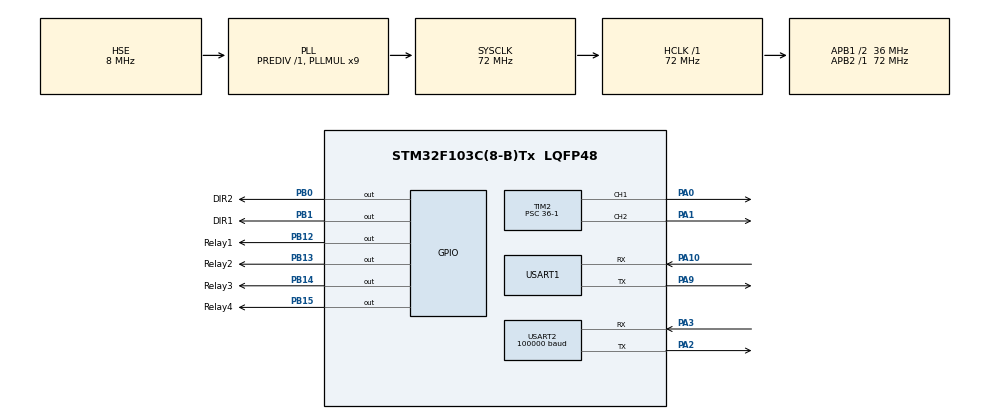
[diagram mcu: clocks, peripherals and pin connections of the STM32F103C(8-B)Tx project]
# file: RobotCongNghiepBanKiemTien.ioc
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Dma.Request0=USART2_RX
Dma.Request1=USART1_RX
Dma.USART1_RX.1.Direction=DMA_PERIPH_TO_MEMORY
Dma.USART1_RX.1.Instance=DMA1_Channel5
Dma.USART1_RX.1.MemDataAlignment=DMA_MDATAALIGN_BYTE
Dma.USART1_RX.1.MemInc=DMA_MINC_ENABLE
Dma.USART1_RX.1.Mode=DMA_NORMAL
Dma.USART1_RX.1.PeriphDataAlignment=DMA_PDATAALIGN_BYTE
Dma.USART1_RX.1.PeriphInc=DMA_PINC_DISABLE
Dma.USART1_RX.1.Priority=DMA_PRIORITY_LOW
Dma.USART2_RX.0.Direction=DMA_PERIPH_TO_MEMORY
Dma.USART2_RX.0.Instance=DMA1_Channel6
Dma.USART2_RX.0.MemDataAlignment=DMA_MDATAALIGN_BYTE
Dma.USART2_RX.0.MemInc=DMA_MINC_ENABLE
Dma.USART2_RX.0.Mode=DMA_NORMAL
Dma.USART2_RX.0.PeriphDataAlignment=DMA_PDATAALIGN_BYTE
Dma.USART2_RX.0.PeriphInc=DMA_PINC_DISABLE
Dma.USART2_RX.0.Priority=DMA_PRIORITY_HIGH
Mcu.Family=STM32F1
Mcu.Name=STM32F103C(8-B)Tx
Mcu.Package=LQFP48
NVIC.DMA1_Channel5_IRQn=true\:0\:0\:false\:false\:true\:false\:true\:true
NVIC.DMA1_Channel6_IRQn=true\:0\:0\:false\:false\:true\:false\:true\:true
NVIC.PriorityGroup=NVIC_PRIORITYGROUP_4
NVIC.TIM3_IRQn=true\:0\:0\:false\:false\:true\:true\:true\:true
NVIC.USART1_IRQn=true\:0\:0\:false\:false\:true\:true\:true\:true
PA0-WKUP.Signal=S_TIM2_CH1_ETR
PA1.Signal=S_TIM2_CH2
PA10.Mode=Asynchronous
PA10.Signal=USART1_RX
PA13.Mode=Serial_Wire
PA13.Signal=SYS_JTMS-SWDIO
PA14.Mode=Serial_Wire
PA14.Signal=SYS_JTCK-SWCLK
PA2.Mode=Asynchronous
PA2.Signal=USART2_TX
PA3.Mode=Asynchronous
PA3.Signal=USART2_RX
PA9.Mode=Asynchronous
PA9.Signal=USART1_TX
PB0.GPIO_Label=DIR2
PB0.Signal=GPIO_Output
PB1.GPIO_Label=DIR1
PB1.Signal=GPIO_Output
PB12.GPIO_Label=Relay1
PB12.Signal=GPIO_Output
PB13.GPIO_Label=Relay2
PB13.Signal=GPIO_Output
PB14.GPIO_Label=Relay3
PB14.Signal=GPIO_Output
PB15.GPIO_Label=Relay4
PB15.Signal=GPIO_Output
PD0-OSC_IN.Mode=HSE-External-Oscillator
PD0-OSC_IN.Signal=RCC_OSC_IN
PD1-OSC_OUT.Mode=HSE-External-Oscillator
PD1-OSC_OUT.Signal=RCC_OSC_OUT
ProjectManager.HeapSize=0x200
ProjectManager.StackSize=0x400
ProjectManager.TargetToolchain=STM32CubeIDE
RCC.AHBFreq_Value=72000000
RCC.APB1CLKDivider=RCC_HCLK_DIV2
RCC.APB1Freq_Value=36000000
RCC.APB1TimFreq_Value=72000000
RCC.APB2Freq_Value=72000000
RCC.APB2TimFreq_Value=72000000
RCC.HCLKFreq_Value=72000000
RCC.PLLMUL=RCC_PLL_MUL9
RCC.PLLSourceVirtual=RCC_PLLSOURCE_HSE
RCC.SYSCLKFreq_VALUE=72000000
RCC.SYSCLKSource=RCC_SYSCLKSOURCE_PLLCLK
RCC.USBFreq_Value=72000000
SH.S_TIM2_CH1_ETR.0=TIM2_CH1,PWM Generation1 CH1
SH.S_TIM2_CH2.0=TIM2_CH2,PWM Generation2 CH2
TIM2.Channel-PWM\ Generation1\ CH1=TIM_CHANNEL_1
TIM2.Channel-PWM\ Generation2\ CH2=TIM_CHANNEL_2
TIM2.Period=100-1
TIM2.Prescaler=36-1
TIM3.Period=50000-1
TIM3.Prescaler=72-1
USART1.VirtualMode=VM_ASYNC
USART2.BaudRate=100000
USART2.Parity=PARITY_EVEN
USART2.StopBits=STOPBITS_2
USART2.VirtualMode=VM_ASYNC
USART2.WordLength=WORDLENGTH_9B
VP_TIM3_VS_ClockSourceINT.Mode=Internal
board=custom

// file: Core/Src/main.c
/* USER CODE BEGIN Header */
/**
 ******************************************************************************
 * @file           : main.c
 * @brief          : Main program body
 ******************************************************************************
 * @attention
 *
 * Copyright (c) 2026 STMicroelectronics.
 * All rights reserved.
 *
 * This software is licensed under terms that can be found in the LICENSE file
 * in the root directory of this software component.
 * If no LICENSE file comes with this software, it is provided AS-IS.
 *
 ******************************************************************************
 */
/* USER CODE END Header */
#include "main.h"

/* USER CODE BEGIN Includes */
#include <math.h>
/* USER CODE END Includes */

/* USER CODE BEGIN PTD */
typedef enum {
  AXIS_NONE = 0,
  AXIS_U,
  AXIS_R
} ControlAxis_t;

/**
 * @brief Union ghép 4 byte từ UART thành biến float (chuẩn IEEE 754)
 */
typedef union {
  float    f_val;      /*!< Giá trị float (4 bytes) */
  uint8_t  bytes[4];   /*!< 4 bytes tương ứng (Little-Endian: bytes[0] là LSB) */
} FloatBytesUnion_t;
/* USER CODE END PTD */

/* USER CODE BEGIN PD */
#define SBUS_FRAME_SIZE 25U
#define SBUS_RX_BUF_SIZE 64U
#define SBUS_STREAM_BUF_SIZE (SBUS_RX_BUF_SIZE + SBUS_FRAME_SIZE - 1U)
#define SBUS_CENTER 992.0f
#define SBUS_DEADBAND 150.0f
#define AUTO_MIN_SPEED 0.0f /* Tốc độ khởi động tối thiểu khi chạy thẳng (%) */
#define PID_MAX 15.0f
#define PID_MIN -15.0f
/* USER CODE END PD */

TIM_HandleTypeDef htim2;
TIM_HandleTypeDef htim3;

UART_HandleTypeDef huart1;
UART_HandleTypeDef huart2;
DMA_HandleTypeDef hdma_usart1_rx;
DMA_HandleTypeDef hdma_usart2_rx;

/* USER CODE BEGIN PV */
volatile uint8_t SCALE = 1;
float delta_u, delta_r;
uint16_t pre_value_ch4 = 1000;
uint16_t pre_value_ch5 = 1000;
uint16_t pre_value_ch6 = 1000;
uint16_t pre_value_ch7 = 1000;
volatile int16_t pwm_test1 =
    0; /* Động cơ 1: Tốc độ từ -100 đến 100 (%) (PWM: PA0, DIR: PB1) */
volatile int16_t pwm_test2 =
    0; /* Động cơ 2: Tốc độ từ -100 đến 100 (%) (PWM: PA1, DIR: PB0) */
volatile int16_t pwm_test = 0; /* Biến test chung */

/* --- THÔNG SỐ ĐỘNG HỌC ROBOT (DIFFERENTIAL DRIVE KINEMATICS) --- */
float a = 1.0f;              /* Bán kính bánh xe (m) */
float d = 1.0f;              /* Khoảng cách từ bánh xe đến tâm robot (m) */
volatile float cmd_u = 0.0f; /* Vận tốc dài tịnh tiến (u) - tiến / lùi */
volatile float cmd_u_base = 0.0f; /* Vận tốc dài cơ sở chưa giảm tốc khi bẻ lái */
volatile float cmd_r = 0.0f; /* Vận tốc góc quay (r) - xoay trái / phải */

volatile float alpha1 =
    1.0f; /* Hệ số tỉ lệ tốc độ tổng duy nhất (0.0 -> 1.0), nhân trực tiếp vào cmd_u và cmd_r */
volatile float alpha2 =
    1.0f; /* Hệ số dự phòng (không sử dụng cho bánh xe nữa) */
float omega1 = 0.0f; /* Vận tốc góc bánh phải (Motor 1) */
float omega2 = 0.0f; /* Vận tốc góc bánh trái (Motor 2) */

/* --- BIẾN VÀ BỘ ĐỆM GIẢI MÃ SBUS (16 KÊNH) --- */
volatile uint8_t sbus_frame[SBUS_FRAME_SIZE];
volatile uint16_t
    sbus_channel[16]; /* 16 kênh RC: Min ~172, Tâm ~992, Max ~1811 */
volatile uint8_t sbus_frame_lost = 0;
volatile uint8_t sbus_failsafe = 0;
volatile uint8_t sbus_sync_ok = 0;

uint8_t sbus_dma_buffer[SBUS_RX_BUF_SIZE];
uint8_t sbus_stream_buffer[SBUS_STREAM_BUF_SIZE];
volatile uint16_t sbus_parser_count = 0;

/* --- BIẾN ĐIỀU KHIỂN BƠM (PUMP CONTROL) & TỰ ĐỘNG TIẾN (AUTO FORWARD) --- */
volatile uint8_t Pump_control = 0; /* 1: Bật bơm, 0: Tắt bơm */
volatile uint8_t Auto_Forward =0; /* 1: Tự động chạy thẳng, 0: Chạy theo cần gạt tay */
volatile uint8_t pre_Auto_Forward = 0;
volatile uint8_t ramp_done = 0; /* 1: Đã hoàn thành speed_ramp (cmd_u >= target_speed), 0: Đang chạy ramp */
volatile float auto_accel_time_ms = 3000.0f; /* <<< ĐIỀN THỜI GIAN GIA TỐC (ms) VÀO ĐÂY: Ví dụ 2000ms = 2 giây để đạt tốc độ */
volatile uint8_t auto_turn_active = 0;
volatile uint8_t auto_turn_armed = 1;
volatile uint32_t auto_turn_start_tick = 0;
volatile uint32_t auto_turn_end_tick = 0;
volatile uint32_t auto_turn_duration_ms = 150; /* Thời gian xoay tối đa (ms) khi gạt ngang (150ms) */
volatile uint8_t manual_turn_active = 0;
volatile uint8_t manual_turn_armed = 1;
volatile uint32_t manual_turn_start_tick = 0;
volatile uint32_t manual_turn_end_tick = 0;
volatile uint32_t turn_debounce_ms = 400; /* Thời gian nghỉ 100ms chống spam giữa các lần gạt xoay */
volatile uint8_t is_forward = 0; /* 1: Đang tiến (cmd_u_base > 0), 0: Đứng yên hoặc lùi */

/* --- BIẾN ĐIỀU KHIỂN ƯU TIÊN TRỤC (AXIS PRIORITY) --- */
volatile ControlAxis_t control_axis = AXIS_NONE;
volatile ControlAxis_t previous_control_axis = AXIS_NONE;
float pre_rc_u = 0.0f;
float pre_rc_r = 0.0f;

/* --- BIẾN NHẬN VÀ LƯU DỮ LIỆU TỪ UART1 QUA DMA IDLE (GÓI 5 BYTE) --- */
#define UART1_RX_BUF_SIZE 20U
uint8_t uart1_rx_buf[UART1_RX_BUF_SIZE];
FloatBytesUnion_t uart1_path_union;
volatile float error_path = 0.0f;          /*!< Lỗi lệch đường (float ghép từ 4 byte đầu qua union) */
volatile uint8_t is_path = 0;              /*!< Trạng thái đường: 1: Có đường, 0: Mất đường (byte thứ 5) */
volatile uint8_t qr_stop_flag = 0;         /*!< Cờ trạm dừng QR (>200x200): 1: Dừng robot, 0: Bình thường (byte thứ 5 từ UART1) */
volatile uint8_t uart1_data[5] = {0};      /*!< Mảng 5 byte lưu dữ liệu thô nhận từ UART1 */
volatile uint16_t uart1_rx_len = 0;        /*!< Chiều dài byte thực tế nhận được */
volatile uint8_t uart1_data_updated = 0;   /*!< Cờ báo vừa nhận được dữ liệu mới (1: có dữ liệu mới) */
volatile uint32_t uart1_rx_count = 0;      /*!< Đếm số lần nhận gói tin thành công từ UART1 */

/* --- THÔNG SỐ VÀ BIẾN PID BÁM ĐƯỜNG (PID_PATH) --- */
float target_path = 0.0f;           /*!< Mục tiêu vị trí lệch đường (0.0 là giữa tâm) */
volatile float err_path, pre_err_path;
float kp_path = 2.0f, kd_path = 1.0f, ki_path = 0.0f; /*!< Thông số PID Path */
volatile float up_path, ud_path, ui_path, uout_path;
volatile float ud_fil_path, ud_fil_pre_path;
float alpha_fil_path = 0.8f;
float deltaT_path = 0.005f;         /*!< Chu kỳ tính PID (5ms tương ứng vòng lặp HAL_Delay(5)) */
volatile uint8_t path_pid_active = 0; /*!< 1: Bật chế độ tự động bẻ lái theo PID Path (Núm 2 > 0.5), 0: Theo cần gạt */
/* USER CODE END PV */

void SystemClock_Config(void);
static void MX_GPIO_Init(void);
static void MX_DMA_Init(void);
static void MX_TIM2_Init(void);
static void MX_USART2_UART_Init(void);
static void MX_USART1_UART_Init(void);
static void MX_TIM3_Init(void);
/* USER CODE BEGIN PFP */
void Motor1_SetSpeed(int16_t pwm_val);
void Motor2_SetSpeed(int16_t pwm_val);
void Motor_SetSpeed(int16_t pwm_val);
float map2(float x, float in_min, float in_max, float out_min, float out_max);
void Kinematic_Cal(float u, float r);

static void SBUS_StartReceive(void);
static void SBUS_DecodeChannels(void);
static uint16_t SBUS_ParseBytes(const uint8_t *data, uint16_t size);
static void UART1_StartReceive(void);
float SBUS_Knob_To_Speed(uint16_t ch_val);
float SBUS_Knob_To_Alpha(uint16_t ch_val);
float Filter_Alpha(float current_alpha, uint16_t ch_val);
float Speed_Ramp(float current_speed, float target_speed, float time_ms);
float pid_path(float target);
void pid_reset_path(void);
/* USER CODE END PFP */

/* USER CODE BEGIN 0 */
/**
 * @brief  Khởi động nhận dữ liệu SBUS qua DMA (Receive To Idle)
 */
static void SBUS_StartReceive(void) {
  if (HAL_UARTEx_ReceiveToIdle_DMA(&huart2, sbus_dma_buffer,
                                   SBUS_RX_BUF_SIZE) == HAL_OK) {
    __HAL_DMA_DISABLE_IT(huart2.hdmarx, DMA_IT_HT); /* Tắt ngắt Half-Transfer */
  }
}

/**
 * @brief  Khởi động nhận dữ liệu UART1 qua DMA Idle Line
 */
static void UART1_StartReceive(void) {
  if (HAL_UARTEx_ReceiveToIdle_DMA(&huart1, uart1_rx_buf,
                                   UART1_RX_BUF_SIZE) == HAL_OK) {
    __HAL_DMA_DISABLE_IT(huart1.hdmarx, DMA_IT_HT); /* Tắt ngắt Half-Transfer */
  }
}

/**
 * @brief  Giải nén 16 kênh 11-bit từ frame SBUS 25 bytes
 */
static void SBUS_DecodeChannels(void) {
  sbus_channel[0] =
      ((uint16_t)sbus_frame[1] | ((uint16_t)sbus_frame[2] << 8)) & 0x07FFU;
  sbus_channel[1] =
      ((uint16_t)sbus_frame[2] >> 3 | ((uint16_t)sbus_frame[3] << 5)) & 0x07FFU;
  sbus_channel[2] =
      ((uint16_t)sbus_frame[3] >> 6 | ((uint16_t)sbus_frame[4] << 2) |
       ((uint16_t)sbus_frame[5] << 10)) &
      0x07FFU;
  sbus_channel[3] =
      ((uint16_t)sbus_frame[5] >> 1 | ((uint16_t)sbus_frame[6] << 7)) & 0x07FFU;
  sbus_channel[4] =
      ((uint16_t)sbus_frame[6] >> 4 | ((uint16_t)sbus_frame[7] << 4)) & 0x07FFU;
  sbus_channel[5] =
      ((uint16_t)sbus_frame[7] >> 7 | ((uint16_t)sbus_frame[8] << 1) |
       ((uint16_t)sbus_frame[9] << 9)) &
      0x07FFU;
  sbus_channel[6] =
      ((uint16_t)sbus_frame[9] >> 2 | ((uint16_t)sbus_frame[10] << 6)) &
      0x07FFU;
  sbus_channel[7] =
      ((uint16_t)sbus_frame[10] >> 5 | ((uint16_t)sbus_frame[11] << 3)) &
      0x07FFU;
  sbus_channel[8] =
      ((uint16_t)sbus_frame[12] | ((uint16_t)sbus_frame[13] << 8)) & 0x07FFU;
  sbus_channel[9] =
      ((uint16_t)sbus_frame[13] >> 3 | ((uint16_t)sbus_frame[14] << 5)) &
      0x07FFU;
  sbus_channel[10] =
      ((uint16_t)sbus_frame[14] >> 6 | ((uint16_t)sbus_frame[15] << 2) |
       ((uint16_t)sbus_frame[16] << 10)) &
      0x07FFU;
  sbus_channel[11] =
      ((uint16_t)sbus_frame[16] >> 1 | ((uint16_t)sbus_frame[17] << 7)) &
      0x07FFU;
  sbus_channel[12] =
      ((uint16_t)sbus_frame[17] >> 4 | ((uint16_t)sbus_frame[18] << 4)) &
      0x07FFU;
  sbus_channel[13] =
      ((uint16_t)sbus_frame[18] >> 7 | ((uint16_t)sbus_frame[19] << 1) |
       ((uint16_t)sbus_frame[20] << 9)) &
      0x07FFU;
  sbus_channel[14] =
      ((uint16_t)sbus_frame[20] >> 2 | ((uint16_t)sbus_frame[21] << 6)) &
      0x07FFU;
  sbus_channel[15] =
      ((uint16_t)sbus_frame[21] >> 5 | ((uint16_t)sbus_frame[22] << 3)) &
      0x07FFU;

  sbus_frame_lost = ((sbus_frame[23] & 0x04U) != 0U);
  sbus_failsafe = ((sbus_frame[23] & 0x08U) != 0U);
}

/**
 * @brief  Tìm kiếm Header 0x0F và Footer 0x00 của frame SBUS
 */
static uint16_t SBUS_ParseBytes(const uint8_t *data, uint16_t size) {
  uint16_t scan_index = 0U;
  uint16_t valid_frames = 0U;

  if (size > SBUS_RX_BUF_SIZE)
    size = SBUS_RX_BUF_SIZE;
  for (uint16_t i = 0; i < size; i++) {
    sbus_stream_buffer[sbus_parser_count++] = data[i];
  }

  while ((sbus_parser_count - scan_index) >= SBUS_FRAME_SIZE) {
    if (sbus_stream_buffer[scan_index] != 0x0FU ||
        sbus_stream_buffer[scan_index + SBUS_FRAME_SIZE - 1U] != 0x00U) {
      scan_index++;
      continue;
    }
    for (uint16_t i = 0; i < SBUS_FRAME_SIZE; i++) {
      sbus_frame[i] = sbus_stream_buffer[scan_index + i];
    }
    SBUS_DecodeChannels();
    valid_frames++;
    scan_index += SBUS_FRAME_SIZE;
  }

  uint16_t remaining = sbus_parser_count - scan_index;
  for (uint16_t i = 0; i < remaining; i++) {
    sbus_stream_buffer[i] = sbus_stream_buffer[scan_index + i];
  }
  sbus_parser_count = remaining;
  return valid_frames;
}

/**
 * @brief  Callback ngắt nhận IDLE UART từ DMA (USART1 và USART2)
 */
void HAL_UARTEx_RxEventCallback(UART_HandleTypeDef *huart, uint16_t Size) {
  if (huart->Instance == USART2) {
    if (SBUS_ParseBytes(sbus_dma_buffer, Size) > 0U) {
      sbus_sync_ok = 1U;
    }
    SBUS_StartReceive();
  }
  if (huart->Instance == USART1) {
    if (Size >= 5U) {
      /* Ghép 4 byte đầu (0..3) thành biến float error_path qua union */
      uart1_path_union.bytes[0] = uart1_rx_buf[0];
      uart1_path_union.bytes[1] = uart1_rx_buf[1];
      uart1_path_union.bytes[2] = uart1_rx_buf[2];
      uart1_path_union.bytes[3] = uart1_rx_buf[3];
      error_path = uart1_path_union.f_val;

      /* Byte thứ 5 (index 4) là cờ trạm dừng QR (> 200x200 pixels) từ tầng trên:
       * - 1: Kích hoạt trạm dừng (QR > 200x200 px) -> Robot dừng lại
       * - 0: Trạng thái chạy bình thường (bám đường hoặc bám tâm QR)
       */
      qr_stop_flag = uart1_rx_buf[4];
      is_path = (qr_stop_flag == 1) ? 0 : 1;
    }

    if (Size > 0U) {
      /* Sao chép 5 byte vào mảng dữ liệu thô uart1_data */
      uint8_t copy_len = (Size >= sizeof(uart1_data)) ? (uint8_t)sizeof(uart1_data) : (uint8_t)Size;
      for (uint8_t i = 0; i < copy_len; i++) {
        uart1_data[i] = uart1_rx_buf[i];
      }
      uart1_rx_len = Size;
      uart1_data_updated = 1;
      uart1_rx_count++;
    }
    /* Khởi động lại nhận DMA Idle Line cho gói tiếp theo */
    UART1_StartReceive();
  }
}

/**
 * @brief  Callback tự động khôi phục khi gặp lỗi đường truyền UART
 */
void HAL_UART_ErrorCallback(UART_HandleTypeDef *huart) {
  if (huart->Instance == USART2) {
    (void)HAL_UART_AbortReceive(huart);
    sbus_parser_count = 0U;
    SBUS_StartReceive();
  }
  if (huart->Instance == USART1) {
    __HAL_UART_CLEAR_OREFLAG(huart);
    __HAL_UART_CLEAR_FEFLAG(huart);
    __HAL_UART_CLEAR_NEFLAG(huart);
    __HAL_UART_CLEAR_PEFLAG(huart);
    (void)HAL_UART_AbortReceive(huart);
    UART1_StartReceive();
  }
}

/**
 * @brief  Chuyển đổi núm xoay Potentiometer (Kênh 7 & Kênh 8 / 200..1800) sang
 * độ lớn tốc độ (0% đến 100%)
 */
float SBUS_Knob_To_Speed(uint16_t ch_val) {
  if (ch_val < 200)
    ch_val = 200;
  if (ch_val > 1800)
    ch_val = 1800;
  return map2((float)ch_val, 200.0f, 1800.0f, 0.0f, 100.0f);
}

/**
 * @brief  Chuyển đổi núm xoay Potentiometer (200..1800) sang hệ số alpha (0.00
 * đến 1.00) Làm tròn lấy đúng 2 chữ số sau dấu phẩy (0.xx)
 */
float SBUS_Knob_To_Alpha(uint16_t ch_val) {
  if (ch_val < 200)
    ch_val = 200;
  if (ch_val > 1800)
    ch_val = 1800;
  float raw = map2((float)ch_val, 200.0f, 1800.0f, 0.0f, 1.0f);
  return (float)((uint16_t)(raw * 100.0f + 0.5f)) / 100.0f;
}

/**
 * @brief  Bộ lọc EMA siêu nhạy chống rung giật số và bám sát chuyển động xoay
 * núm
 * @param  current_alpha: Giá trị alpha hiện tại (0.00 đến 1.00)
 * @param  ch_val: Giá trị kênh SBUS đọc về (200..1800)
 * @retval Giá trị alpha mượt mà, phản hồi tức thì (nhạy) và đứng im khi không
 * xoay
 */
float Filter_Alpha(float current_alpha, uint16_t ch_val) {
  if (ch_val < 200)
    ch_val = 200;
  if (ch_val > 1800)
    ch_val = 1800;

  /* Giá trị mục tiêu từ kênh SBUS */
  float target = (float)(ch_val - 200) / 1600.0f;

  /* Lọc EMA bám nhanh (trọng số 0.8: bám theo tay tức thì trong ~15ms, vừa
   * triệt tiêu nhiễu rung) */
  float filtered = current_alpha + 0.8f * (target - current_alpha);

  /* Làm tròn lấy 2 chữ số sau dấu phẩy */
  return (float)((uint16_t)(filtered * 100.0f + 0.5f)) / 100.0f;
}

/**
 * @brief  Hàm tính toán gia tốc tăng/giảm tốc độ theo thời gian
 * @param  current_speed: Tốc độ hiện tại (%)
 * @param  target_speed : Tốc độ cài đặt cần đạt tới (%)
 * @param  time_ms      : Khoảng thời gian (ms) để tăng từ AUTO_MIN_SPEED (0%) đến target_speed
 * @retval Tốc độ mới sau khi áp dụng gia tốc (%)
 */
float Speed_Ramp(float current_speed, float target_speed, float time_ms) {
  if (time_ms <= 0.0f) {
    return target_speed;
  }

  static uint32_t last_tick = 0;
  uint32_t now = HAL_GetTick();
  float dt = (float)(now - last_tick);
  last_tick = now;

  /* Giới hạn dt hợp lệ nếu hàm vừa được gọi lại sau thời gian dài */
  if (dt <= 0.0f || dt > 50.0f) {
    dt = 5.0f; /* Thời gian chu kỳ mặc định theo HAL_Delay(5) */
  }

  /* Bước tăng/giảm tốc độ trong khoảng thời gian dt:
   * Khoảng chênh lệch từ AUTO_MIN_SPEED (0%) đến target_speed diễn ra đúng trong time_ms */
  float speed_delta = fabsf(target_speed - AUTO_MIN_SPEED);
  if (speed_delta <= 0.0f) {
    return target_speed;
  }

  float rate = speed_delta / time_ms;
  float step = rate * dt;

  if (current_speed < target_speed) {
    current_speed += step;
    if (current_speed > target_speed) {
      current_speed = target_speed;
    }
  } else if (current_speed > target_speed) {
    current_speed -= step;
    if (current_speed < target_speed) {
      current_speed = target_speed;
    }
  }

  return current_speed;
}

/**
 * @brief  Hàm ánh xạ tuyến tính float
 */
float map2(float x, float in_min, float in_max, float out_min, float out_max) {
  if (in_max == in_min) {
    return out_min;
  }
  return (x - in_min) * (out_max - out_min) / (in_max - in_min) + out_min;
}

/**
 * @brief  Tính toán động học vi sai (Kinematics) và cấp tốc độ ra 2 động cơ
 * (-100 đến 100%)
 * @param  u: Vận tốc dài (Linear velocity) - vector đi thẳng/lùi
 * @param  r: Vận tốc góc (Angular velocity) - vector quay trái/phải
 * @retval None
 */
void Kinematic_Cal(float u, float r) {
  /* Công thức động học vi sai (đã bỏ hệ số alpha ở từng bánh):
   * omega1: vận tốc góc bánh phải (Motor 1)
   * omega2: vận tốc góc bánh trái (Motor 2)
   */
  omega1 = (1.0f / a) * (u + r * d);
  omega2 = (1.0f / a) * (u -  r * d);

  /* Ánh xạ trực tiếp sang dải PWM (-100% đến 100%) */
  int16_t right_speed =
      -(int16_t)map2(omega1, -100.0f, 100.0f, -100.0f, 100.0f);
  int16_t left_speed = (int16_t)map2(omega2, -100.0f, 100.0f, -100.0f, 100.0f);

  /* Cấp tốc độ trực tiếp ra 2 động cơ */
  Motor1_SetSpeed(right_speed);
  Motor2_SetSpeed(left_speed);
}

/**
 * @brief  Điều khiển Động cơ 1 (Bánh phải)
 * @param  pwm_val: -100 đến 100 (%)
 *                  - pwm_val >= 0: Quay thuận (DIR1 = HIGH), xung PA0
 * (TIM2_CH1)
 *                  - pwm_val < 0 : Quay nghịch (DIR1 = LOW), xung PA0
 * (TIM2_CH1)
 * @retval None
 */
void Motor1_SetSpeed(int16_t pwm_val) {
  /* Giới hạn giá trị trong khoảng [-100, 100] */
  if (pwm_val > 100) {
    pwm_val = 100;
  } else if (pwm_val < -100) {
    pwm_val = -100;
  }

  /* Điều khiển chân chiều DIR 1 (PB1) */
  if (pwm_val >= 0) {
    HAL_GPIO_WritePin(DIR1_GPIO_Port, DIR1_Pin, GPIO_PIN_SET);
  } else {
    HAL_GPIO_WritePin(DIR1_GPIO_Port, DIR1_Pin, GPIO_PIN_RESET);
    pwm_val = -pwm_val; /* Lấy độ lớn cho xung PWM */
  }

  /* Tính giá trị compare tương ứng theo Period (ARR = 719 => 720 bước đếm cho
   * 100kHz) */
  uint32_t period = __HAL_TIM_GET_AUTORELOAD(&htim2) + 1U;
  uint32_t compare = (period * (uint32_t)pwm_val) / 100U;

  __HAL_TIM_SET_COMPARE(&htim2, TIM_CHANNEL_1, compare);
}

/**
 * @brief  Điều khiển Động cơ 2 (Bánh trái)
 * @param  pwm_val: -100 đến 100 (%)
 *                  - pwm_val >= 0: Quay thuận (DIR2 = HIGH), xung PA1
 * (TIM2_CH2)
 *                  - pwm_val < 0 : Quay nghịch (DIR2 = LOW), xung PA1
 * (TIM2_CH2)
 * @retval None
 */
void Motor2_SetSpeed(int16_t pwm_val) {
  /* Giới hạn giá trị trong khoảng [-100, 100] */
  if (pwm_val > 100) {
    pwm_val = 100;
  } else if (pwm_val < -100) {
    pwm_val = -100;
  }

  /* Điều khiển chân chiều DIR 2 (PB0) */
  if (pwm_val >= 0) {
    HAL_GPIO_WritePin(DIR2_GPIO_Port, DIR2_Pin, GPIO_PIN_SET);
  } else {
    HAL_GPIO_WritePin(DIR2_GPIO_Port, DIR2_Pin, GPIO_PIN_RESET);
    pwm_val = -pwm_val; /* Lấy độ lớn cho xung PWM */
  }

  /* Tính giá trị compare tương ứng theo Period (ARR = 719 => 720 bước đếm cho
   * 100kHz) */
  uint32_t period = __HAL_TIM_GET_AUTORELOAD(&htim2) + 1U;
  uint32_t compare = (period * (uint32_t)pwm_val) / 100U;

  __HAL_TIM_SET_COMPARE(&htim2, TIM_CHANNEL_2, compare);
}

/**
 * @brief  Hàm điều khiển chung / tương thích ngược
 */
void Motor_SetSpeed(int16_t pwm_val) { Motor1_SetSpeed(pwm_val); }

/**
 * @brief  Thuật toán PID bám đường (Path Tracking)
 * @param  target: Giá trị mục tiêu (mặc định 0.0f là ở giữa tâm đường)
 * @retval Tín hiệu ngõ ra điều khiển góc quay (uout_path: -100.0f đến 100.0f)
 */
float pid_path(float target) {
  /* Nếu tại trạm dừng QR (qr_stop_flag == 1): ngắt ngõ ra lái về 0 và xóa khâu tích phân */
  if (qr_stop_flag == 1) {
    ui_path = 0.0f;
    uout_path = 0.0f;
    return 0.0f;
  }

  /* Sai số: mục tiêu - độ lệch thực tế nhận từ cảm biến qua UART1 */
  err_path = target - error_path;

  /* Khâu tỉ lệ (P) */
  up_path = kp_path * err_path;

  /* Khâu tích phân (I) kèm giới hạn chống bão hòa (Anti-windup) */
  ui_path += ki_path * err_path * deltaT_path;
  if (ui_path > PID_MAX) ui_path = PID_MAX;
  else if (ui_path < PID_MIN) ui_path = PID_MIN;

  /* Khâu vi phân (D) có bộ lọc thông thấp (Derivative Filter) chống nhiễu */
  ud_path = kd_path * ((err_path - pre_err_path) / deltaT_path);
  ud_fil_path = (1.0f - alpha_fil_path) * ud_fil_pre_path + alpha_fil_path * ud_path;

  /* Lưu giá trị cho chu kỳ kế tiếp */
  ud_fil_pre_path = ud_fil_path;
  pre_err_path = err_path;

  /* Tổng ngõ ra PID (giới hạn trong khoảng [PID_MIN, PID_MAX]) */
  uout_path = up_path + ud_fil_path + ui_path;
  if (uout_path > PID_MAX) uout_path = PID_MAX;
  else if (uout_path < PID_MIN) uout_path = PID_MIN;

  return uout_path;
}

/**
 * @brief  Hàm reset các biến trạng thái bộ điều khiển PID Path
 */
void pid_reset_path(void) {
  err_path = 0.0f;
  pre_err_path = 0.0f;
  up_path = 0.0f;
  ui_path = 0.0f;
  ud_path = 0.0f;
  ud_fil_path = 0.0f;
  ud_fil_pre_path = 0.0f;
  uout_path = 0.0f;
}
/* USER CODE END 0 */

int main(void)
{

  /* MCU Configuration--------------------------------------------------------*/

  /* Reset of all peripherals, Initializes the Flash interface and the Systick. */
  HAL_Init();

  /* Configure the system clock */
  SystemClock_Config();

  /* Initialize all configured peripherals */
  MX_GPIO_Init();
  MX_DMA_Init();
  MX_TIM2_Init();
  MX_USART2_UART_Init();
  MX_USART1_UART_Init();
  MX_TIM3_Init();
  /* USER CODE BEGIN 2 */
  /* Khởi động xuất xung PWM trên Timer 2: Channel 1 (PA0) và Channel 2 (PA1) */
  HAL_TIM_PWM_Start(&htim2, TIM_CHANNEL_1);
  HAL_TIM_PWM_Start(&htim2, TIM_CHANNEL_2);

  /* Bắt đầu nhận tín hiệu điều khiển SBUS qua DMA */
  SBUS_StartReceive();

  /* Bắt đầu nhận dữ liệu UART1 qua DMA Idle Line (mảng 10 byte) */
  UART1_StartReceive();

  /* Khởi động ngắt định kỳ Timer 3 để tính toán bộ điều khiển PID bám đường */
  HAL_TIM_Base_Start_IT(&htim3);
  /* USER CODE END 2 */

  /* Infinite loop */
  /* USER CODE BEGIN WHILE */
  while (1) {
    /* Đọc tín hiệu SBUS từ tay điều khiển RC */
    if (sbus_failsafe == 0 && sbus_sync_ok == 1) {
      /* 1. Lọc và cập nhật hệ số alpha1 (bánh phải) và alpha2 (bánh trái) từ
       * núm xoay (0.00 đến 1.00) */
      alpha1 = Filter_Alpha(
          alpha1,
          sbus_channel[6]); /* Kênh 7: Núm xoay điều chỉnh % tốc độ bánh phải */
      alpha2 = Filter_Alpha(
          alpha2,
          sbus_channel[7]); /* Kênh 8: Núm xoay điều chỉnh % tốc độ bánh trái */

      /* 2. Đọc trạng thái Tự động chạy thẳng (Auto_Forward) từ công tắc Kênh 5
       * (sbus_channel[4]):
       * - Gạt lên (~200 / < 600)    -> Auto_Forward = 1 (Bật chế độ tự chạy
       * thẳng)
       * - Gạt xuống (~1800 / > 1400) -> Auto_Forward = 0 (Tắt tự động, về điều
       * khiển tay)
       */
      if (sbus_channel[4] < 600) {
        Auto_Forward = 1;
      } else {
        Auto_Forward = 0;
      }

      /* 3. Điều khiển Tốc độ tiến/lùi (cmd_u) và Góc xoay (cmd_r):
       * - cmd_u: sbus_channel[1] (200 -> 1800 map sang -100 -> +100, tâm 1000)
       * - cmd_r: sbus_channel[0] (200 -> 1800 map sang -100 -> +100, tâm 1000)
       */
      /* Đọc giá trị cần gạt từ tay điều khiển RC */
      float raw_ch1 = (float)sbus_channel[1];
      if (raw_ch1 < 200.0f) raw_ch1 = 200.0f;
      else if (raw_ch1 > 1800.0f) raw_ch1 = 1800.0f;
      float rc_u = map2(raw_ch1, 200.0f, 1800.0f, -100.0f, 100.0f);
      if (rc_u >= -30.0f && rc_u <= 30.0f) {
        rc_u = 0.0f; /* Vùng chết [-30, 30] ở khoảng giữa cần gạt tiến/lùi */
      }

      float raw_ch0 = (float)sbus_channel[0];
      if (raw_ch0 < 200.0f) raw_ch0 = 200.0f;
      else if (raw_ch0 > 1800.0f) raw_ch0 = 1800.0f;
      float rc_r = - map2(raw_ch0, 200.0f, 1800.0f, -100.0f, 100.0f);
      if (rc_r >= -30.0f && rc_r <= 30.0f) {
        rc_r = 0.0f; /* Vùng chết [-30, 30] ở khoảng giữa cần gạt xoay */
      }

      /* 3.1. KIỂM TRA CHẾ ĐỘ TỰ ĐỘNG BẺ LÁI THEO PID BÁM ĐƯỜNG (Núm xoay 2 > 50%) */
      if (alpha2 > 0.5f) {
        path_pid_active = 1;

        /* Khi núm 2 > 0.5: Góc xoay cmd_r lấy trực tiếp từ ngõ ra PID (uout_path),
         * hoàn toàn KHÔNG bị giới hạn bởi các quy luật 150ms hay 400ms! */
        cmd_r = uout_path;

        if (Auto_Forward == 1) {
          float target_speed = alpha1 * 100.0f;
          is_forward = 1;

          /* Bắt đầu tăng tốc ở lần đầu tiên khi bật Auto_Forward */
          if (pre_Auto_Forward == 0) {
            cmd_u = AUTO_MIN_SPEED;
            ramp_done = 0;
            pre_Auto_Forward = 1;
          }

          /* Gia tốc tăng tốc độ đến target_speed */
          if (ramp_done == 0) {
            cmd_u = Speed_Ramp(cmd_u, target_speed, auto_accel_time_ms);
            if (cmd_u >= target_speed) {
              cmd_u = target_speed;
              ramp_done = 1;
            }
          } else {
            cmd_u = target_speed;
          }
        } else {
          /* Chế độ Lái tay: Vận tốc tiến/lùi theo cần gạt rc_u * alpha1 */
          pre_Auto_Forward = 0;
          ramp_done = 0;
          cmd_u_base = rc_u * alpha1;
          cmd_u = cmd_u_base;

          if (cmd_u_base > 0.0f) {
            is_forward = 1;
          } else {
            is_forward = 0;
          }

          /* Nếu buông tay cần tiến/lùi (xe đứng yên), ngắt cả tốc độ và góc xoay để xe đứng yên */
          if (rc_u == 0.0f) {
            cmd_u = 0.0f;
            cmd_r = 0.0f;
          }
        }

        /* KIỂM TRA TRẠM DỪNG QR (> 200x200 PIXELS) TRONG CHẾ ĐỘ TỰ ĐỘNG BÁM ĐƯỜNG:
         * Khi tầng trên gửi cờ trạm dừng (qr_stop_flag == 1),
         * lập tức dừng hẳn robot (ngắt tốc độ cmd_u = 0, góc lái cmd_r = 0).
         */
        if (qr_stop_flag == 1) {
          cmd_u = 0.0f;
          cmd_r = 0.0f;
          ramp_done = 0; /* Reset gia tốc để khi tiếp tục chạy sẽ khởi động êm */
          ui_path = 0.0f; /* Xóa tích phân PID */
        }

        /* Nạp lại cờ sẵn sàng cho các đợt bẻ lái tay khi tắt núm xoay PID */
        auto_turn_armed = 1;
        auto_turn_active = 0;
        manual_turn_armed = 1;
        manual_turn_active = 0;
      } else {
        /* TẮT CHẾ ĐỘ PID BÁM ĐƯỜNG: Reset trạng thái PID khi vừa vặn núm về <= 0.5 */
        if (path_pid_active == 1) {
          pid_reset_path();
          path_pid_active = 0;
        }

        /* === CHẾ ĐỘ ĐIỀU KHIỂN THEO CẦN GẠT TAY VỚI QUY LUẬT 150ms VÀ 400ms === */
        if (Auto_Forward == 1) {
          float target_speed = alpha1 * 100.0f;
          is_forward = 1; /* Ở chế độ Auto thì xe luôn luôn ở trạng thái tiến */

          /* Bắt đầu tăng tốc ở lần đầu tiên khi bật Auto_Forward */
          if (pre_Auto_Forward == 0) {
            cmd_u = AUTO_MIN_SPEED; /* Khởi tạo tốc độ bắt đầu từ 0% */
            ramp_done = 0;
            auto_turn_armed = 1;
            auto_turn_active = 0;
            pre_Auto_Forward = 1;
          }

          /* Xử lý xoay ngang trong chế độ Auto_Forward:
           * - Nhả cần xoay về giữa (rc_r == 0): Lập tức dừng xoay (kể cả chưa hết 150ms).
           * - Bắt đầu gạt cần xoay (rc_r != 0): Chỉ kích hoạt khi đã nghỉ đủ turn_debounce_ms (100ms).
           */
          if (rc_r == 0.0f) {
            /* Chỉ nạp lại cờ sẵn sàng sau khi đã nghỉ đủ turn_debounce_ms (chống spam cần xoay) */
            if ((HAL_GetTick() - auto_turn_end_tick) >= turn_debounce_ms) {
              auto_turn_armed = 1;  /* Nhả về giữa và đã qua thời gian nghỉ: sẵn sàng cho lần gạt sau */
            }
            if (auto_turn_active == 1) {
              auto_turn_active = 0; /* Lập tức dừng xoay */
              auto_turn_end_tick = HAL_GetTick(); /* Bắt đầu đếm thời gian nghỉ chống spam */
            }
            cmd_r = 0.0f;
          } else if (auto_turn_armed == 1 && (HAL_GetTick() - auto_turn_end_tick) >= turn_debounce_ms) {
            auto_turn_armed = 0;  /* Khóa lại, chỉ xoay 1 đợt 150ms */
            auto_turn_active = 1; /* Bắt đầu xoay */
            auto_turn_start_tick = HAL_GetTick();
          }

          /* Thực hiện xoay nếu đang trong thời gian cho phép (< 150ms) */
          if (auto_turn_active == 1) {
            if ((HAL_GetTick() - auto_turn_start_tick) < auto_turn_duration_ms) {
              /* VỪA CHẠY VỪA LƯỢN: Giảm tốc tịnh tiến xuống 2/3 để ôm cua an toàn */
              cmd_u = target_speed * (2.0f / 3.0f);
              cmd_r = rc_r * alpha1 * (2.0f / 3.0f);        /* Xoay theo cần gạt tay (nhân hệ số 2/3 để giảm tốc góc) */
            } else {
              /* Hết 150ms: Tự động hết thời gian xoay dù tay vẫn đang giữ cần gạt */
              auto_turn_active = 0;
              auto_turn_end_tick = HAL_GetTick();           /* Bắt đầu đếm cooldown chống spam */
              cmd_r = 0.0f;
            }
          }

          /* Khi không xoay (hoặc vừa hết 150ms): Chạy thẳng bình thường với tốc độ cài đặt */
          if (auto_turn_active == 0) {
            cmd_r = 0.0f;          /* Ngừng xoay khi chạy thẳng */

            /* Chỉ gia tốc 1 lần duy nhất lúc vừa bật Auto_Forward */
            if (ramp_done == 0) {
              cmd_u = Speed_Ramp(cmd_u, target_speed, auto_accel_time_ms);
              if (cmd_u >= target_speed) {
                cmd_u = target_speed;
                ramp_done = 1; /* Chạy xong gia tốc 1 lần duy nhất -> các lần sau không gia tốc nữa */
              }
            } else {
              cmd_u = target_speed; /* Đã xong gia tốc: chạy thẳng trực tiếp với tốc độ cài đặt */
            }
          }
        } else {
          /* Tắt Auto_Forward: reset cờ để lần sau bật lại sẽ tính gia tốc từ đầu */
          pre_Auto_Forward = 0;
          ramp_done = 0;
          auto_turn_armed = 1;
          auto_turn_active = 0;

          /* Chế độ lái tay thủ công (không bật Auto_Forward):
           * 1. Khi thả cần chạy thẳng (rc_u == 0):
           *    - Xoay toàn diện tự do (cmd_u = 0, cmd_r = rc_r * alpha1).
           * 2. Khi đang gạt chạy thẳng (rc_u != 0):
           *    - Xe duy trì chạy thẳng (cmd_u = rc_u * alpha1), KHÔNG dừng lại để xoay.
           *    - Nếu gạt ngang: chỉ xoay trong 150ms như Auto_Forward (cmd_r = rc_r * alpha1).
           *      Hết 150ms thì tự động ngắt xoay (cmd_r = 0), tiếp tục chạy thẳng.
           *    - Nếu nhả cần xoay về giữa (rc_r == 0) trong 150ms: lập tức dừng xoay (cmd_r = 0) và nạp lại cờ.
           *    - Chỉ được xoay tiếp 150ms khi đã nhả cần xoay về giữa rồi gạt lại.
           */
          if (rc_u == 0.0f) {
            /* Không gạt chạy thẳng -> Cho phép xoay toàn diện không giới hạn thời gian */
            is_forward = 0;
            cmd_u = 0.0f;
            cmd_u_base = 0.0f;
            cmd_r = rc_r * alpha1;

            /* Nạp lại cờ sẵn sàng cho đợt xoay 150ms khi chạy thẳng */
            manual_turn_armed = 1;
            manual_turn_active = 0;
          } else {
            /* Đang gạt chạy thẳng/lùi: Tính tốc độ cơ sở từ cần gạt */
            cmd_u_base = rc_u * alpha1;

            /* Cập nhật cờ hướng chạy */
            if (cmd_u_base > 0.0f) {
              is_forward = 1;  /* Đang tiến */
            } else {
              is_forward = 0;  /* Đang lùi */
            }

            /* Xử lý gạt xoay ngang trong lúc chạy thẳng (chỉ xoay tối đa 150ms) */
            if (rc_r == 0.0f) {
              /* Chỉ nạp lại cờ sẵn sàng sau khi đã nghỉ đủ 50ms (chống spam cần xoay) */
              if ((HAL_GetTick() - manual_turn_end_tick) >= turn_debounce_ms) {
                manual_turn_armed = 1;  /* Nhả về giữa và đã qua 50ms: sẵn sàng cho lần gạt sau */
              }
              if (manual_turn_active == 1) {
                manual_turn_active = 0; /* Lập tức dừng xoay */
                manual_turn_end_tick = HAL_GetTick(); /* Bắt đầu đếm thời gian nghỉ 50ms */
              }
              cmd_r = 0.0f;
              cmd_u = cmd_u_base;     /* Chạy thẳng đủ 100% tốc độ cài đặt */
            } else if (manual_turn_armed == 1 && (HAL_GetTick() - manual_turn_end_tick) >= turn_debounce_ms) {
              manual_turn_armed = 0;  /* Khóa lại, chỉ xoay 1 đợt 150ms */
              manual_turn_active = 1;
              manual_turn_start_tick = HAL_GetTick();
            }

            if (manual_turn_active == 1) {
              if ((HAL_GetTick() - manual_turn_start_tick) < auto_turn_duration_ms) {
                /* Trong 150ms liếc hướng: Giảm tốc tịnh tiến 2/3 để ôm cua an toàn */
                cmd_u = cmd_u_base * (2.0f / 3.0f);

                /* Bẻ lái: kiểm tra cờ is_forward cực kỳ trực quan */
                if (is_forward == 0) {
                  cmd_r = -rc_r * alpha1 * (2.0f / 3.0f); /* Lùi xe: đảo ngược hướng xoay và giảm tốc 2/3 */
                } else {
                  cmd_r = rc_r * alpha1 * (2.0f / 3.0f);  /* Tiến xe: hướng xoay bình thường giảm tốc 2/3 */
                }
              } else {
                manual_turn_active = 0; /* Hết 150ms: Tự động hết thời gian xoay */
                manual_turn_end_tick = HAL_GetTick(); /* Bắt đầu đếm 50ms cooldown chống spam */
                cmd_r = 0.0f;
                cmd_u = cmd_u_base;     /* Trả lại đủ tốc độ chạy thẳng */
              }
            } else {
              /* Hết 150ms mà chưa nhả cần về 0: Khóa xoay, chỉ chạy thẳng với đủ tốc độ */
              cmd_r = 0.0f;
              cmd_u = cmd_u_base;
            }
          }
        }
      }

      /* Giới hạn góc lái cmd_r trong khoảng [-100, 100] */
      if (cmd_r > 100.0f) {
        cmd_r = 100.0f;
      } else if (cmd_r < -100.0f) {
        cmd_r = -100.0f;
      }

      /* 4. Điều khiển Bơm (sbus_channel[5]):
       * - Bỏ qua nếu trước đó channel 4..7 đều bằng 200 (trạng thái khởi động / dummy frame ban đầu)
       * - Khi giá trị trước đó < 600 và hiện tại chuyển về vị trí giữa (~1000, [800..1200]) -> Bật bơm (Pump_control = 1)
       * - Khi gạt xuống (> 1400) -> Tắt bơm (Pump_control = 0)
       */
      uint8_t prev_ch4_to_7_all_200 = (pre_value_ch4 <= 250 && pre_value_ch5 <= 250 &&
                                       pre_value_ch6 <= 250 && pre_value_ch7 <= 250);

      if ((sbus_channel[5] >= 800 && sbus_channel[5] <= 1200) && (pre_value_ch5 < 600) && !prev_ch4_to_7_all_200) {
        Pump_control = 1;
      } else if (sbus_channel[5] > 1400) {
        Pump_control = 0;
      }
      pre_value_ch4 = sbus_channel[4];
      pre_value_ch5 = sbus_channel[5];
      pre_value_ch6 = sbus_channel[6];
      pre_value_ch7 = sbus_channel[7];
    } else {
      /* Mất sóng hoặc tắt tay điều khiển -> dừng khẩn cấp, tắt bơm và tắt tự
       * động */
      cmd_u = 0.0f;
      cmd_u_base = 0.0f;
      cmd_r = 0.0f;
      Auto_Forward = 0;
      pre_Auto_Forward = 0;
      ramp_done = 0;
      auto_turn_armed = 1;
      auto_turn_active = 0;
      manual_turn_armed = 1;
      manual_turn_active = 0;
      Pump_control = 0;
      is_forward = 0;
      path_pid_active = 0;
      pid_reset_path();
      control_axis = AXIS_NONE;
      previous_control_axis = AXIS_NONE;
      pre_rc_u = 0.0f;
      pre_rc_r = 0.0f;
    }

    /* 5. Điều khiển 4 Relay (Bơm thuốc) theo biến Pump_control */
       if (Pump_control == 1) {
         HAL_GPIO_WritePin(GPIOB,
                           Relay1_Pin | Relay2_Pin | Relay3_Pin | Relay4_Pin,
                           GPIO_PIN_SET);
       } else {
         HAL_GPIO_WritePin(GPIOB,
                           Relay1_Pin | Relay2_Pin | Relay3_Pin | Relay4_Pin,
                           GPIO_PIN_RESET);
       }
    /* 5. Điều khiển 4 Relay (Bơm thuốc) theo biến Pump_control */
    // if (Pump_control == 1) {
    //   HAL_GPIO_WritePin(GPIOB, Relay1_Pin, GPIO_PIN_SET);
    // } else {
    //   HAL_GPIO_WritePin(GPIOB, Relay1_Pin, GPIO_PIN_RESET);
    // }

    /* 6. HÀNH VI TRẠM DỪNG QR (> 200x200 PIXELS) TOÀN CỤC:
     * Khi nhận cờ dừng QR (qr_stop_flag == 1) trong khi đang bật chế độ tự động
     * (bật PID bám đường hoặc bật Auto_Forward), cưỡng bức dừng xe tuyệt đối.
     */
    if (qr_stop_flag == 1 && (path_pid_active == 1 || Auto_Forward == 1)) {
      cmd_u = 0.0f;
      cmd_r = 0.0f;
      ramp_done = 0;
      ui_path = 0.0f;
    }

    /* Tính toán động học vi sai và băm xung ra 2 bánh */
    Kinematic_Cal(cmd_u, cmd_r);
    HAL_Delay(5);
    /* USER CODE END WHILE */

  }
}

void SystemClock_Config(void)
{
  RCC_OscInitTypeDef RCC_OscInitStruct = {0};
  RCC_ClkInitTypeDef RCC_ClkInitStruct = {0};

  /** Initializes the RCC Oscillators according to the specified parameters
  * in the RCC_OscInitTypeDef structure.
  */
  RCC_OscInitStruct.OscillatorType = RCC_OSCILLATORTYPE_HSE;
  RCC_OscInitStruct.HSEState = RCC_HSE_ON;
  RCC_OscInitStruct.HSEPredivValue = RCC_HSE_PREDIV_DIV1;
  RCC_OscInitStruct.HSIState = RCC_HSI_ON;
  RCC_OscInitStruct.PLL.PLLState = RCC_PLL_ON;
  RCC_OscInitStruct.PLL.PLLSource = RCC_PLLSOURCE_HSE;
  RCC_OscInitStruct.PLL.PLLMUL = RCC_PLL_MUL9;
  if (HAL_RCC_OscConfig(&RCC_OscInitStruct) != HAL_OK)
  {
    Error_Handler();
  }

  /** Initializes the CPU, AHB and APB buses clocks
  */
  RCC_ClkInitStruct.ClockType = RCC_CLOCKTYPE_HCLK|RCC_CLOCKTYPE_SYSCLK
                              |RCC_CLOCKTYPE_PCLK1|RCC_CLOCKTYPE_PCLK2;
  RCC_ClkInitStruct.SYSCLKSource = RCC_SYSCLKSOURCE_PLLCLK;
  RCC_ClkInitStruct.AHBCLKDivider = RCC_SYSCLK_DIV1;
  RCC_ClkInitStruct.APB1CLKDivider = RCC_HCLK_DIV2;
  RCC_ClkInitStruct.APB2CLKDivider = RCC_HCLK_DIV1;

  if (HAL_RCC_ClockConfig(&RCC_ClkInitStruct, FLASH_LATENCY_2) != HAL_OK)
  {
    Error_Handler();
  }
}

static void MX_TIM2_Init(void)
{

  TIM_MasterConfigTypeDef sMasterConfig = {0};
  TIM_OC_InitTypeDef sConfigOC = {0};

  htim2.Instance = TIM2;
  htim2.Init.Prescaler = 36-1;
  htim2.Init.CounterMode = TIM_COUNTERMODE_UP;
  htim2.Init.Period = 100-1;
  htim2.Init.ClockDivision = TIM_CLOCKDIVISION_DIV1;
  htim2.Init.AutoReloadPreload = TIM_AUTORELOAD_PRELOAD_DISABLE;
  if (HAL_TIM_PWM_Init(&htim2) != HAL_OK)
  {
    Error_Handler();
  }
  sMasterConfig.MasterOutputTrigger = TIM_TRGO_RESET;
  sMasterConfig.MasterSlaveMode = TIM_MASTERSLAVEMODE_DISABLE;
  if (HAL_TIMEx_MasterConfigSynchronization(&htim2, &sMasterConfig) != HAL_OK)
  {
    Error_Handler();
  }
  sConfigOC.OCMode = TIM_OCMODE_PWM1;
  sConfigOC.Pulse = 0;
  sConfigOC.OCPolarity = TIM_OCPOLARITY_HIGH;
  sConfigOC.OCFastMode = TIM_OCFAST_DISABLE;
  if (HAL_TIM_PWM_ConfigChannel(&htim2, &sConfigOC, TIM_CHANNEL_1) != HAL_OK)
  {
    Error_Handler();
  }
  if (HAL_TIM_PWM_ConfigChannel(&htim2, &sConfigOC, TIM_CHANNEL_2) != HAL_OK)
  {
    Error_Handler();
  }
  HAL_TIM_MspPostInit(&htim2);

}

static void MX_TIM3_Init(void)
{

  TIM_ClockConfigTypeDef sClockSourceConfig = {0};
  TIM_MasterConfigTypeDef sMasterConfig = {0};

  htim3.Instance = TIM3;
  htim3.Init.Prescaler = 72-1;
  htim3.Init.CounterMode = TIM_COUNTERMODE_UP;
  htim3.Init.Period = 5000-1;
  htim3.Init.ClockDivision = TIM_CLOCKDIVISION_DIV1;
  htim3.Init.AutoReloadPreload = TIM_AUTORELOAD_PRELOAD_DISABLE;
  if (HAL_TIM_Base_Init(&htim3) != HAL_OK)
  {
    Error_Handler();
  }
  sClockSourceConfig.ClockSource = TIM_CLOCKSOURCE_INTERNAL;
  if (HAL_TIM_ConfigClockSource(&htim3, &sClockSourceConfig) != HAL_OK)
  {
    Error_Handler();
  }
  sMasterConfig.MasterOutputTrigger = TIM_TRGO_RESET;
  sMasterConfig.MasterSlaveMode = TIM_MASTERSLAVEMODE_DISABLE;
  if (HAL_TIMEx_MasterConfigSynchronization(&htim3, &sMasterConfig) != HAL_OK)
  {
    Error_Handler();
  }

}

static void MX_USART1_UART_Init(void)
{

  huart1.Instance = USART1;
  huart1.Init.BaudRate = 115200;
  huart1.Init.WordLength = UART_WORDLENGTH_8B;
  huart1.Init.StopBits = UART_STOPBITS_1;
  huart1.Init.Parity = UART_PARITY_NONE;
  huart1.Init.Mode = UART_MODE_TX_RX;
  huart1.Init.HwFlowCtl = UART_HWCONTROL_NONE;
  huart1.Init.OverSampling = UART_OVERSAMPLING_16;
  if (HAL_UART_Init(&huart1) != HAL_OK)
  {
    Error_Handler();
  }

}

static void MX_USART2_UART_Init(void)
{

  huart2.Instance = USART2;
  huart2.Init.BaudRate = 100000;
  huart2.Init.WordLength = UART_WORDLENGTH_9B;
  huart2.Init.StopBits = UART_STOPBITS_2;
  huart2.Init.Parity = UART_PARITY_EVEN;
  huart2.Init.Mode = UART_MODE_TX_RX;
  huart2.Init.HwFlowCtl = UART_HWCONTROL_NONE;
  huart2.Init.OverSampling = UART_OVERSAMPLING_16;
  if (HAL_UART_Init(&huart2) != HAL_OK)
  {
    Error_Handler();
  }

}

static void MX_DMA_Init(void)
{

  /* DMA controller clock enable */
  __HAL_RCC_DMA1_CLK_ENABLE();

  /* DMA interrupt init */
  /* DMA1_Channel5_IRQn interrupt configuration */
  HAL_NVIC_SetPriority(DMA1_Channel5_IRQn, 0, 0);
  HAL_NVIC_EnableIRQ(DMA1_Channel5_IRQn);
  /* DMA1_Channel6_IRQn interrupt configuration */
  HAL_NVIC_SetPriority(DMA1_Channel6_IRQn, 0, 0);
  HAL_NVIC_EnableIRQ(DMA1_Channel6_IRQn);

}

static void MX_GPIO_Init(void)
{
  GPIO_InitTypeDef GPIO_InitStruct = {0};

  /* GPIO Ports Clock Enable */
  __HAL_RCC_GPIOD_CLK_ENABLE();
  __HAL_RCC_GPIOA_CLK_ENABLE();
  __HAL_RCC_GPIOB_CLK_ENABLE();

  /*Configure GPIO pin Output Level */
  HAL_GPIO_WritePin(GPIOB, DIR2_Pin|DIR1_Pin|Relay1_Pin|Relay2_Pin
                          |Relay3_Pin|Relay4_Pin, GPIO_PIN_RESET);

  /*Configure GPIO pins : DIR2_Pin DIR1_Pin Relay1_Pin Relay2_Pin
                           Relay3_Pin Relay4_Pin */
  GPIO_InitStruct.Pin = DIR2_Pin|DIR1_Pin|Relay1_Pin|Relay2_Pin
                          |Relay3_Pin|Relay4_Pin;
  GPIO_InitStruct.Mode = GPIO_MODE_OUTPUT_PP;
  GPIO_InitStruct.Pull = GPIO_NOPULL;
  GPIO_InitStruct.Speed = GPIO_SPEED_FREQ_LOW;
  HAL_GPIO_Init(GPIOB, &GPIO_InitStruct);

}

/* USER CODE BEGIN 4 */
/**
  * @brief  Callback ngắt chu kỳ Timer (Period Elapsed)
  * @param  htim: con trỏ cấu trúc Timer
  */
void HAL_TIM_PeriodElapsedCallback(TIM_HandleTypeDef *htim) {
  if (htim->Instance == TIM3 || htim->Instance == TIM2) {
    /* Tính toán PID bám đường theo chu kỳ ngắt Timer */
    pid_path(target_path);
  }
}
/* USER CODE END 4 */

void Error_Handler(void)
{
  __disable_irq();
  while (1) {
  }
}
#ifdef USE_FULL_ASSERT
/**
  * @brief  Reports the name of the source file and the source line number
  *         where the assert_param error has occurred.
  * @param  file: pointer to the source file name
  * @param  line: assert_param error line source number
  * @retval None
  */
void assert_failed(uint8_t *file, uint32_t line)
{
  /* USER CODE BEGIN 6 */
  /* User can add his own implementation to report the file name and line
     number, ex: printf("Wrong parameters value: file %s on line %d\r\n", file,
     line) */
  /* USER CODE END 6 */
}
#endif /* USE_FULL_ASSERT */
